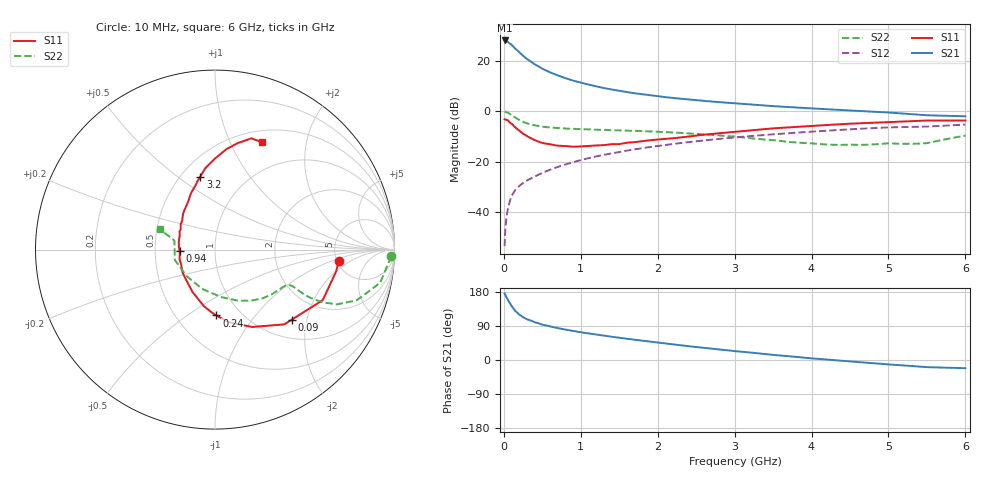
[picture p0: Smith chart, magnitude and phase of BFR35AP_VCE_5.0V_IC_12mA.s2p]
! Infineon Technologies  Discrete & RF Semiconductors
! BFR35AP
! VCE =  5.0 V,  IC =  12 mA
! Common Emitter S-Parameters:  Nov 2015
# GHz  S  MA  R  50
!  f  S11  S21  S12  S22
! GHz  MAG  ANG  MAG  ANG  MAG  ANG  MAG  ANG
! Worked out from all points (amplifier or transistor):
!   210 points, 10 MHz to 6 GHz, reference 50 ohm
!   highest |S21| = 28.1 dB at 10 MHz (marker M1)
!   |S21| within 3 dB of that: start of sweep to 141.4 MHz
!   unconditionally stable (mu >= 1): 547.4 MHz to 2.982 GHz
!   at 185 MHz: K = 0.59, MSG = 27.0 dB, |S12| = -30.1 dB
!   at 1.52 GHz: K = 1.10, MAG = 10.1 dB, |S12| = -16.1 dB
!   at 6 GHz: K = 0.93, MSG = 1.7 dB, |S12| = -5.3 dB
!   S11 on the Smith chart (normalised r, x): 10 MHz: 5.21, -1.26; 90 MHz: 1.39, -1.63; 240 MHz: 0.77, -0.66; 940 MHz: 0.67, -0.01; 3.2 GHz: 0.62, +0.61; 6 GHz: 0.63, +1.32
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0.01  0.6933 -5.2  25.29 175.4  0.0021 88.5  0.9832 -2.2
0.02  0.6856 -10.3  24.83 171.0  0.0047 85.3  0.9675 -4.7
0.05  0.6632 -25.1  23.89 159.2  0.0111 79.2  0.9384 -11.4
0.09  0.5794 -42.3  21.26 146.0  0.0187 72.2  0.8569 -17.9
0.1  0.5679 -47.2  20.81 142.3  0.0206 71.3  0.8384 -19.7
0.15  0.4781 -64.4  17.39 129.1  0.0274 65.2  0.7443 -24.2
0.2  0.4126 -79.2  14.76 119.9  0.0328 64.4  0.6691 -26.1
0.24  0.367 -88.8  12.98 114.3  0.0366 63.6  0.6232 -26.6
0.26  0.3495 -93.2  12.21 111.8  0.0384 63.4  0.6042 -26.7
0.3  0.3216 -101.0  10.86 107.6  0.042 63.5  0.5743 -26.8
0.4  0.2675 -117.9  8.535 99.8  0.0504 64.5  0.5235 -26.2
0.5  0.2343 -132.9  6.959 93.3  0.0595 66.0  0.4925 -25.5
0.7  0.2071 -155.4  5.121 84.0  0.0784 66.9  0.4629 -25.4
0.94  0.1979 -177.4  3.888 75.3  0.1013 66.6  0.4436 -26.7
1.02  0.2012 175.8  3.609 72.6  0.1088 66.3  0.4392 -27.4
1.4  0.2217 153.0  2.688 61.4  0.1455 64.3  0.422 -32.0
2.02  0.2758 128.6  1.959 45.5  0.206 58.8  0.389 -42.2
3.1  0.4014 103.2  1.394 21.7  0.3105 46.7  0.302 -68.4
3.2  0.4146 101.4  1.358 19.8  0.3196 45.4  0.2913 -71.7
4.1  0.5209 88.2  1.114 2.8  0.4021 34.3  0.2231 -113.1
5.1  0.6155 76.6  0.918 -13.0  0.4799 20.5  0.2271 -170.9
6  0.6522 66.5  0.792 -21.6  0.5415 10.1  0.3273 159.8
